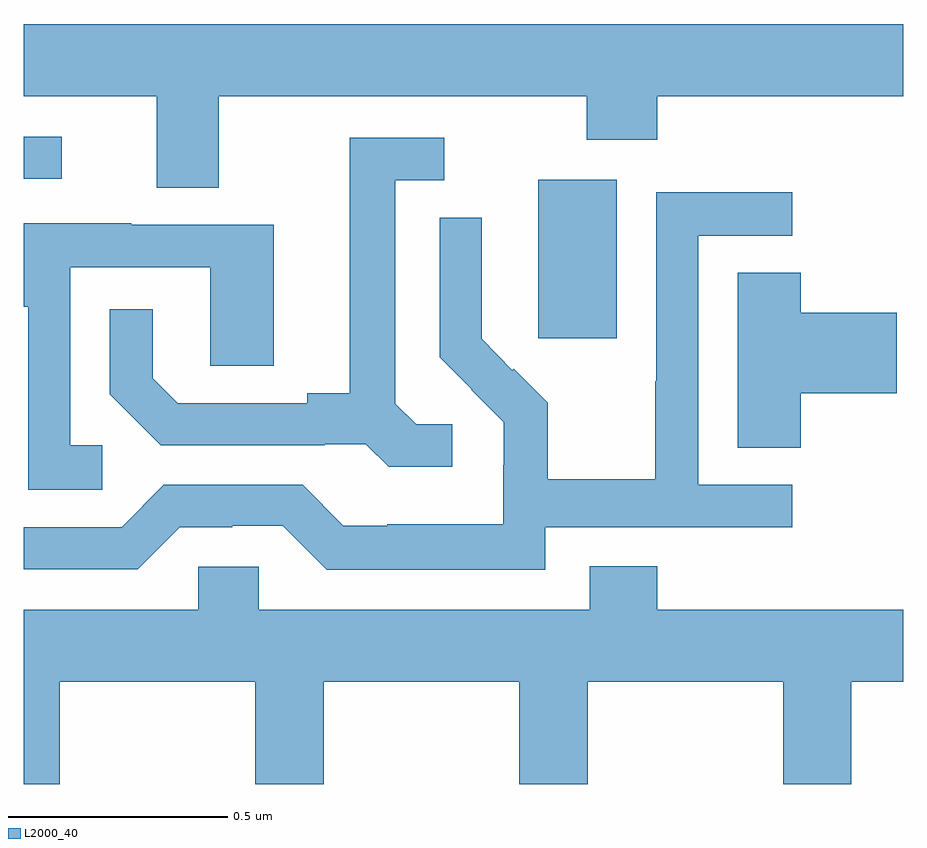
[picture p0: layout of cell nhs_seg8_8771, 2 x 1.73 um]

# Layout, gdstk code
import gdstk
lib = gdstk.Library(unit=1e-6, precision=1e-09)
def R(c, l, rs):  # rectangles x0, y0, x1, y1
    for r in rs: c.add(gdstk.rectangle(r[:2], r[2:], *l))
def P(c, l, *ps):  # polygons
    for p in ps: c.add(gdstk.Polygon(p, *l))
L2000_40 = (2000, 40)

nhs_seg8_8771 = lib.new_cell('nhs_seg8_8771')
R(nhs_seg8_8771, L2000_40, [(228.17,1151.913,228.349,1152.274), (227,1152.276,227.086,1152.372)])
P(nhs_seg8_8771, L2000_40, [(227.443,1152.464),(228.28,1152.464),(228.28,1152.365),(228.44,1152.365),(228.44,1152.464),(229,1152.464),(229,1152.628),(227,1152.628),(227,1152.464),(227.303,1152.464),(227.303,1152.256),(227.443,1152.256)],
  [(227.974,1151.718),(227.892,1151.718),(227.845,1151.765),(227.845,1152.273),(227.956,1152.273),(227.956,1152.369),(227.741,1152.369),(227.741,1151.789),(227.645,1151.789),(227.645,1151.766),(227.35,1151.766),(227.293,1151.823),(227.293,1151.98),(227.196,1151.98),(227.196,1151.786),(227.312,1151.67),(227.684,1151.67),(227.684,1151.673),(227.778,1151.673),(227.83,1151.621),(227.974,1151.621)],
  [(228.186,1151.484),(228.748,1151.484),(228.748,1151.58),(228.534,1151.58),(228.534,1152.147),(228.748,1152.147),(228.748,1152.246),(228.438,1152.246),(228.438,1151.816),(228.436,1151.816),(228.436,1151.593),(228.191,1151.593),(228.191,1151.767),(228.114,1151.844),(228.111,1151.841),(228.041,1151.912),(228.041,1152.034),(228.042,1152.034),(228.042,1152.188),(227.946,1152.188),(227.946,1151.87),(228.019,1151.797),(228.018,1151.796),(228.092,1151.722),(228.092,1151.625),(228.09,1151.625),(228.09,1151.491),(227.827,1151.491),(227.827,1151.487),(227.727,1151.487),(227.634,1151.58),(227.319,1151.58),(227.223,1151.484),(227,1151.484),(227,1151.388),(227.259,1151.388),(227.355,1151.484),(227.474,1151.484),(227.474,1151.487),(227.589,1151.487),(227.689,1151.387),(228.186,1151.387)],
  [(227.179,1151.67),(227.106,1151.67),(227.106,1152.075),(227.424,1152.075),(227.424,1151.851),(227.569,1151.851),(227.569,1152.171),(227.245,1152.171),(227.245,1152.175),(227,1152.175),(227,1151.985),(227.01,1151.985),(227.01,1151.569),(227.179,1151.569)],
  [(228.767,1151.789),(228.985,1151.789),(228.985,1151.972),(228.767,1151.972),(228.767,1152.062),(228.623,1152.062),(228.623,1151.665),(228.767,1151.665)],
  [(227.082,1151.132),(227.527,1151.132),(227.527,1150.9),(227.682,1150.9),(227.682,1151.132),(228.127,1151.132),(228.127,1150.9),(228.282,1150.9),(228.282,1151.132),(228.727,1151.132),(228.727,1150.9),(228.882,1150.9),(228.882,1151.132),(229,1151.132),(229,1151.296),(228.44,1151.296),(228.44,1151.395),(228.287,1151.395),(228.287,1151.296),(227.535,1151.296),(227.535,1151.394),(227.397,1151.394),(227.397,1151.296),(227,1151.296),(227,1150.9),(227.082,1150.9)])

lib.write_gds('nhs_seg8_8771.gds')
